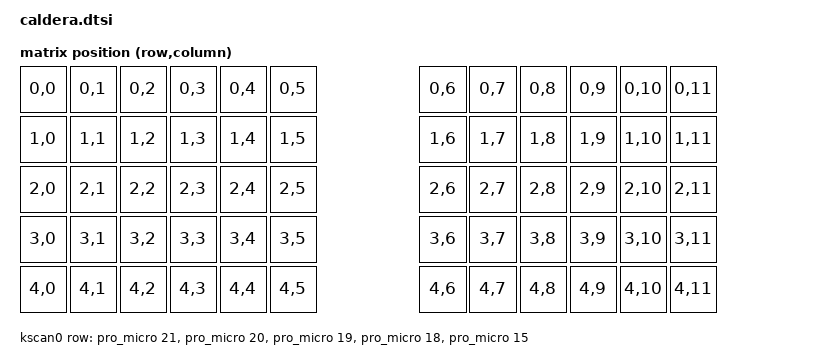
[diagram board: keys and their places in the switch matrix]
#include <dt-bindings/zmk/matrix_transform.h>

/ {
    chosen {
        zmk,kscan = &kscan0;
        zmk,matrix_transform = &default_transform;
    };

    default_transform: keymap_transform_0 {
        compatible = "zmk,matrix-transform";
        columns = <12>;
        rows = <5>;
// Switch references on the original finished PCBs, viewed from the key side:
// | S5 | S10 | S15 | S20 | S25 | S30 |                     | S30 | S25 | S20 | S15 | S10 | S5 |
// | S4 | S9  | S14 | S19 | S24 | S29 |                     | S29 | S24 | S19 | S14 | S9  | S4 |
// | S3 | S8  | S13 | S18 | S23 | S28 |                     | S28 | S23 | S18 | S13 | S8  | S3 |
// | S2 | S7  | S12 | S17 | S22 | S27 |                     | S27 | S22 | S17 | S12 | S7  | S2 |
// | S1 | S6  | S11 | S16 | S21 | S26 |                     | S26 | S21 | S16 | S11 | S6  | S1 |

        map = <
RC(0,0) RC(0,1) RC(0,2) RC(0,3) RC(0,4) RC(0,5)                 RC(0,6) RC(0,7) RC(0,8) RC(0,9) RC(0,10) RC(0,11)
RC(1,0) RC(1,1) RC(1,2) RC(1,3) RC(1,4) RC(1,5)                 RC(1,6) RC(1,7) RC(1,8) RC(1,9) RC(1,10) RC(1,11)
RC(2,0) RC(2,1) RC(2,2) RC(2,3) RC(2,4) RC(2,5)                 RC(2,6) RC(2,7) RC(2,8) RC(2,9) RC(2,10) RC(2,11)
RC(3,0) RC(3,1) RC(3,2) RC(3,3) RC(3,4) RC(3,5)                 RC(3,6) RC(3,7) RC(3,8) RC(3,9) RC(3,10) RC(3,11)
RC(4,0) RC(4,1) RC(4,2) RC(4,3) RC(4,4) RC(4,5)                 RC(4,6) RC(4,7) RC(4,8) RC(4,9) RC(4,10) RC(4,11)
        >;
    };

    kscan0: kscan {
        compatible = "zmk,kscan-gpio-matrix";
        wakeup-source;
        diode-direction = "col2row";
        row-gpios
            = <&pro_micro 21 (GPIO_ACTIVE_HIGH | GPIO_PULL_DOWN)> // Row A from the schematic file
            , <&pro_micro 20 (GPIO_ACTIVE_HIGH | GPIO_PULL_DOWN)> // Row B from the schematic file
            , <&pro_micro 19 (GPIO_ACTIVE_HIGH | GPIO_PULL_DOWN)> // Row C from the schematic file
            , <&pro_micro 18 (GPIO_ACTIVE_HIGH | GPIO_PULL_DOWN)> // Row D from the schematic file
            , <&pro_micro 15 (GPIO_ACTIVE_HIGH | GPIO_PULL_DOWN)> // Row E from the schematic file
            ;

    };
};
